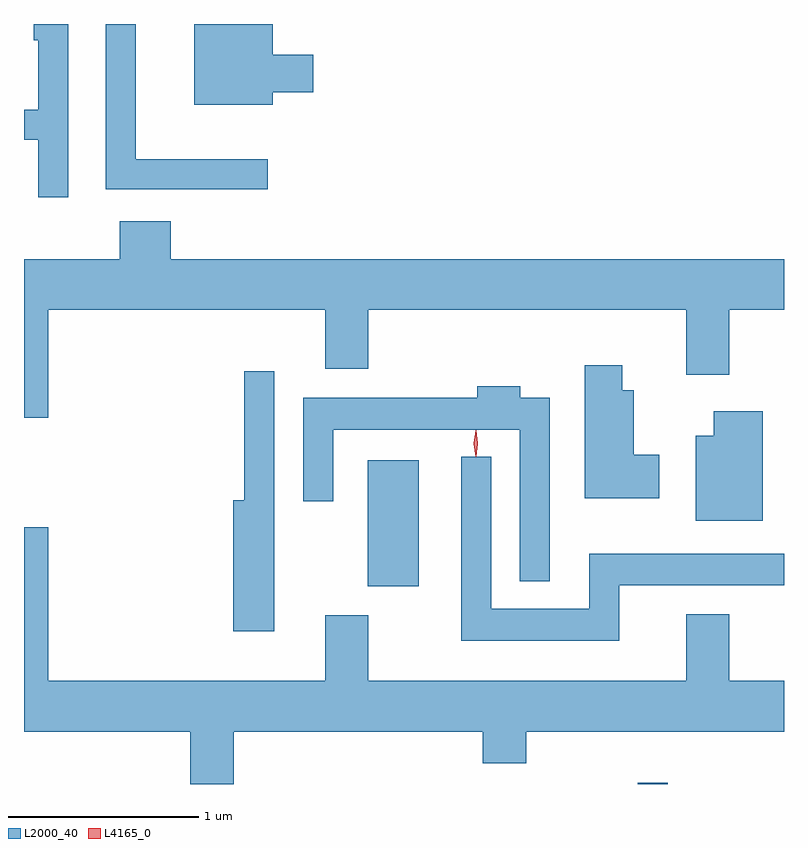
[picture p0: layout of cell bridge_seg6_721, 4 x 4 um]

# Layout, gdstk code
import gdstk
lib = gdstk.Library(unit=1e-6, precision=1e-09)
def R(c, l, rs):  # rectangles x0, y0, x1, y1
    for r in rs: c.add(gdstk.rectangle(r[:2], r[2:], *l))
def P(c, l, *ps):  # polygons
    for p in ps: c.add(gdstk.Polygon(p, *l))
L2000_40 = (2000, 40)
L4165_0 = (4165, 0)

bridge_seg6_721 = lib.new_cell('bridge_seg6_721')
R(bridge_seg6_721, L2000_40, [(488.636,1545.321,488.794,1545.328), (487.216,1546.361,487.484,1547.024)])
P(bridge_seg6_721, L2000_40, [(485.639,1549.321),(485.456,1549.321),(485.456,1549.236),(485.481,1549.236),(485.481,1548.869),(485.406,1548.869),(485.406,1548.711),(485.481,1548.711),(485.481,1548.408),(485.639,1548.408)],
  [(486.714,1548.961),(486.929,1548.961),(486.929,1549.159),(486.714,1549.159),(486.714,1549.321),(486.301,1549.321),(486.301,1548.896),(486.714,1548.896)],
  [(486.688,1548.609),(485.994,1548.609),(485.994,1549.321),(485.836,1549.321),(485.836,1548.451),(486.688,1548.451)],
  [(485.534,1547.816),(486.991,1547.816),(486.991,1547.506),(487.219,1547.506),(487.219,1547.816),(488.891,1547.816),(488.891,1547.476),(489.119,1547.476),(489.119,1547.816),(489.406,1547.816),(489.406,1548.084),(486.179,1548.084),(486.179,1548.284),(485.911,1548.284),(485.911,1548.084),(485.406,1548.084),(485.406,1547.248),(485.534,1547.248)],
  [(488.749,1547.054),(488.614,1547.054),(488.614,1547.394),(488.554,1547.394),(488.554,1547.524),(488.356,1547.524),(488.356,1546.826),(488.749,1546.826)],
  [(486.724,1547.493),(486.566,1547.493),(486.566,1546.814),(486.506,1546.814),(486.506,1546.126),(486.724,1546.126)],
  [(488.174,1547.354),(488.019,1547.354),(488.019,1547.414),(487.791,1547.414),(487.791,1547.354),(486.876,1547.354),(486.876,1546.808),(487.034,1546.808),(487.034,1547.186),(488.016,1547.186),(488.016,1546.388),(488.174,1546.388)],
  [(489.294,1547.284),(489.036,1547.284),(489.036,1547.154),(488.941,1547.154),(488.941,1546.706),(489.294,1546.706)],
  [(488.539,1546.366),(489.406,1546.366),(489.406,1546.534),(488.381,1546.534),(488.381,1546.244),(487.864,1546.244),(487.864,1547.043),(487.706,1547.043),(487.706,1546.076),(488.539,1546.076)],
  [(485.406,1546.673),(485.406,1545.596),(486.281,1545.596),(486.281,1545.321),(486.509,1545.321),(486.509,1545.596),(487.821,1545.596),(487.821,1545.431),(488.049,1545.431),(488.049,1545.596),(489.406,1545.596),(489.406,1545.864),(489.119,1545.864),(489.119,1546.214),(488.891,1546.214),(488.891,1545.864),(487.219,1545.864),(487.219,1546.209),(486.991,1546.209),(486.991,1545.864),(485.534,1545.864),(485.534,1546.673)])
P(bridge_seg6_721, L4165_0, [(487.784,1547.044),(487.784,1547.044),(487.774,1547.113),(487.784,1547.182),(487.784,1547.183),(487.785,1547.182),(487.794,1547.113),(487.785,1547.044)],
  [(487.784,1547.047),(487.784,1547.048),(487.774,1547.114),(487.784,1547.18),(487.784,1547.18),(487.785,1547.18),(487.794,1547.114),(487.785,1547.048)])

lib.write_gds('bridge_seg6_721.gds')
